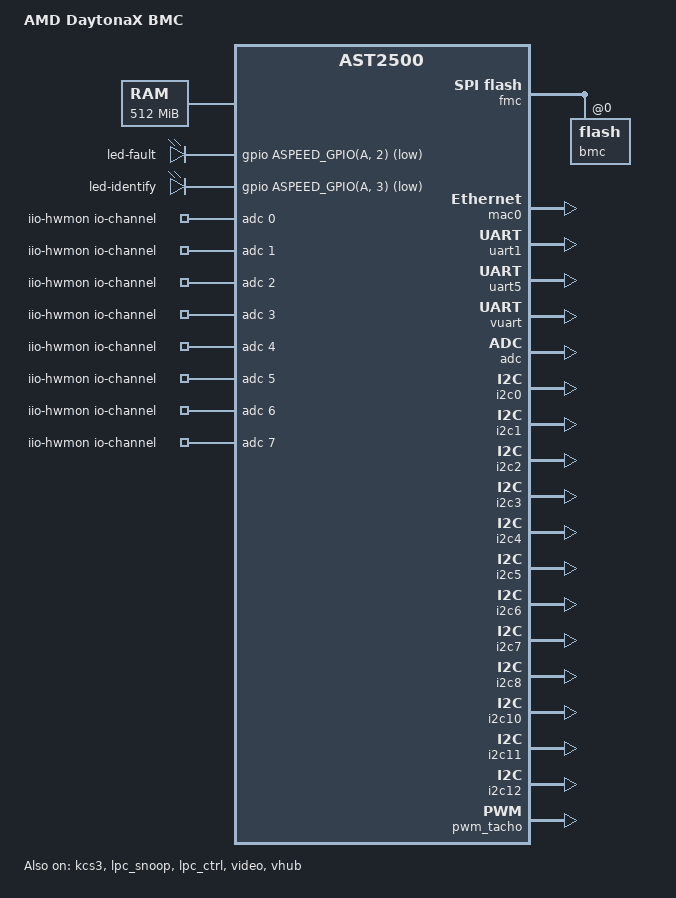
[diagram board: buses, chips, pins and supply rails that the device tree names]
// SPDX-License-Identifier: GPL-2.0
/dts-v1/;

#include "aspeed-g5.dtsi"
#include <dt-bindings/gpio/aspeed-gpio.h>
#include <dt-bindings/interrupt-controller/irq.h>

/ {
	model = "AMD DaytonaX BMC";
	compatible = "amd,daytonax-bmc", "aspeed,ast2500";

	memory@80000000 {
		reg = <0x80000000 0x20000000>;
	};

	reserved-memory {
		#address-cells = <1>;
		#size-cells = <1>;
		ranges;

		video_engine_memory: jpegbuffer {
			size = <0x02000000>;	/* 32M */
			alignment = <0x01000000>;
			compatible = "shared-dma-pool";
			reusable;
		};
	};

	aliases {
		serial0 = &uart1;
		serial4 = &uart5;
	};

	chosen {
		stdout-path = &uart5;
		bootargs = "console=ttyS4,115200";
	};

	leds {
		compatible = "gpio-leds";

		led-fault {
			gpios = <&gpio ASPEED_GPIO(A, 2) GPIO_ACTIVE_LOW>;
		};

		led-identify {
			gpios = <&gpio ASPEED_GPIO(A, 3) GPIO_ACTIVE_LOW>;
		};
	};

	iio-hwmon {
		compatible = "iio-hwmon";
		io-channels = <&adc 0>, <&adc 1>, <&adc 2>, <&adc 3>, <&adc 4>,
			<&adc 5>, <&adc 6>, <&adc 7>, <&adc 8>, <&adc 9>,
			<&adc 10>, <&adc 11>, <&adc 12>, <&adc 13>, <&adc 14>,
			<&adc 15>;
	};
};

&fmc {
	status = "okay";
	flash@0 {
		status = "okay";
		m25p,fast-read;
		label = "bmc";
		#include "openbmc-flash-layout.dtsi"
	};
};

&mac0 {
	status = "okay";
	pinctrl-names = "default";
	pinctrl-0 = <&pinctrl_rgmii1_default &pinctrl_mdio1_default>;
};

&uart1 {
	//Host Console
	status = "okay";
	pinctrl-names = "default";
	pinctrl-0 = <&pinctrl_txd1_default
		&pinctrl_rxd1_default
		&pinctrl_nrts1_default
		&pinctrl_ndtr1_default
		&pinctrl_ndsr1_default
		&pinctrl_ncts1_default
		&pinctrl_ndcd1_default
		&pinctrl_nri1_default>;
};

&uart5 {
	//BMC Console
	status = "okay";
};

&vuart {
	status = "okay";
	aspeed,lpc-io-reg = <0x3f8>;
	aspeed,lpc-interrupts = <4 IRQ_TYPE_LEVEL_HIGH>;
};

&adc {
	status = "okay";
	pinctrl-names = "default";
	pinctrl-0 = <&pinctrl_adc0_default
		&pinctrl_adc1_default
		&pinctrl_adc2_default
		&pinctrl_adc3_default
		&pinctrl_adc4_default
		&pinctrl_adc5_default
		&pinctrl_adc6_default
		&pinctrl_adc7_default
		&pinctrl_adc8_default
		&pinctrl_adc9_default
		&pinctrl_adc10_default
		&pinctrl_adc11_default
		&pinctrl_adc12_default
		&pinctrl_adc13_default
		&pinctrl_adc14_default
		&pinctrl_adc15_default>;
};

&gpio {
	status = "okay";
	gpio-line-names =
	/*A0-A7*/	"","","led-fault","led-identify","","","","",
	/*B0-B7*/	"","","","","","","","",
	/*C0-C7*/	"id-button","","","","","","","",
	/*D0-D7*/	"","","ASSERT_BMC_READY","","","","","",
	/*E0-E7*/	"reset-button","reset-control","power-button","power-control","",
			"power-good","power-ok","",
	/*F0-F7*/	"","","","","","","BATTERY_DETECT","",
	/*G0-G7*/	"","","","","","","","",
	/*H0-H7*/	"","","","","","","","",
	/*I0-I7*/	"","","","","","","","",
	/*J0-J7*/	"","","","","","","","",
	/*K0-K7*/	"","","","","","","","",
	/*L0-L7*/	"","","","","","","","",
	/*M0-M7*/	"","","","","","","","",
	/*N0-N7*/	"","","","","","","","",
	/*O0-O7*/	"","","","","","","","",
	/*P0-P7*/	"","","","","","","","",
	/*Q0-Q7*/	"","","","","","","","",
	/*R0-R7*/	"","","","","","","","",
	/*S0-S7*/	"","","","","","","","",
	/*T0-T7*/	"","","","","","","","",
	/*U0-U7*/	"","","","","","","","",
	/*V0-V7*/	"","","","","","","","",
	/*W0-W7*/	"","","","","","","","",
	/*X0-X7*/	"","","","","","","","",
	/*Y0-Y7*/	"","","","","","","","",
	/*Z0-Z7*/	"","","","","","","","",
	/*AA0-AA7*/	"","","","","","","","",
	/*AB0-AB7*/	"FM_BMC_READ_SPD_TEMP","","","","","","","",
	/*AC0-AC7*/	"","","","","","","","";
};

&i2c0 {
	status = "okay";
};

&i2c1 {
	status = "okay";
};

&i2c2 {
	status = "okay";
};

&i2c3 {
	status = "okay";
};

&i2c4 {
	status = "okay";
};

&i2c5 {
	status = "okay";
};

&i2c6 {
	status = "okay";
};

&i2c7 {
	status = "okay";
};

&i2c8 {
	status = "okay";
};

&i2c10 {
	status = "okay";
};

&i2c11 {
	status = "okay";
};

&i2c12 {
	status = "okay";
};

&kcs3 {
	status = "okay";
	aspeed,lpc-io-reg = <0xca2>;
};

&lpc_snoop {
	status = "okay";
	snoop-ports = <0x80>, <0x81>;
};

&lpc_ctrl {
	status = "okay";
};

&pwm_tacho {
	status = "okay";
	pinctrl-names = "default";
	pinctrl-0 = <&pinctrl_pwm0_default
		&pinctrl_pwm1_default
		&pinctrl_pwm2_default
		&pinctrl_pwm3_default
		&pinctrl_pwm4_default
		&pinctrl_pwm5_default
		&pinctrl_pwm6_default
		&pinctrl_pwm7_default>;

	fan@0 {
		reg = <0x00>;
		aspeed,fan-tach-ch = /bits/ 8 <0x00>;
	};

	fan@1 {
		reg = <0x00>;
		aspeed,fan-tach-ch = /bits/ 8 <0x01>;
	};

	fan@2 {
		reg = <0x01>;
		aspeed,fan-tach-ch = /bits/ 8 <0x02>;
	};

	fan@3 {
		reg = <0x01>;
		aspeed,fan-tach-ch = /bits/ 8 <0x03>;
	};

	fan@4 {
		reg = <0x02>;
		aspeed,fan-tach-ch = /bits/ 8 <0x04>;
	};

	fan@5 {
		reg = <0x02>;
		aspeed,fan-tach-ch = /bits/ 8 <0x05>;
	};

	fan@6 {
		reg = <0x03>;
		aspeed,fan-tach-ch = /bits/ 8 <0x06>;
	};

	fan@7 {
		reg = <0x03>;
		aspeed,fan-tach-ch = /bits/ 8 <0x07>;
	};

	fan@8 {
		reg = <0x04>;
		aspeed,fan-tach-ch = /bits/ 8 <0x08>;
	};

	fan@9 {
		reg = <0x04>;
		aspeed,fan-tach-ch = /bits/ 8 <0x09>;
	};

	fan@10 {
		reg = <0x05>;
		aspeed,fan-tach-ch = /bits/ 8 <0x0a>;
	};

	fan@11 {
		reg = <0x05>;
		aspeed,fan-tach-ch = /bits/ 8 <0x0b>;
	};

	fan@12 {
		reg = <0x06>;
		aspeed,fan-tach-ch = /bits/ 8 <0x0c>;
	};

	fan@13 {
		reg = <0x06>;
		aspeed,fan-tach-ch = /bits/ 8 <0x0d>;
	};

	fan@14 {
		reg = <0x07>;
		aspeed,fan-tach-ch = /bits/ 8 <0x0e>;
	};

	fan@15 {
		reg = <0x07>;
		aspeed,fan-tach-ch = /bits/ 8 <0x0f>;
	};
};

&video {
	status = "okay";
	memory-region = <&video_engine_memory>;
};

&vhub {
	status = "okay";
};
